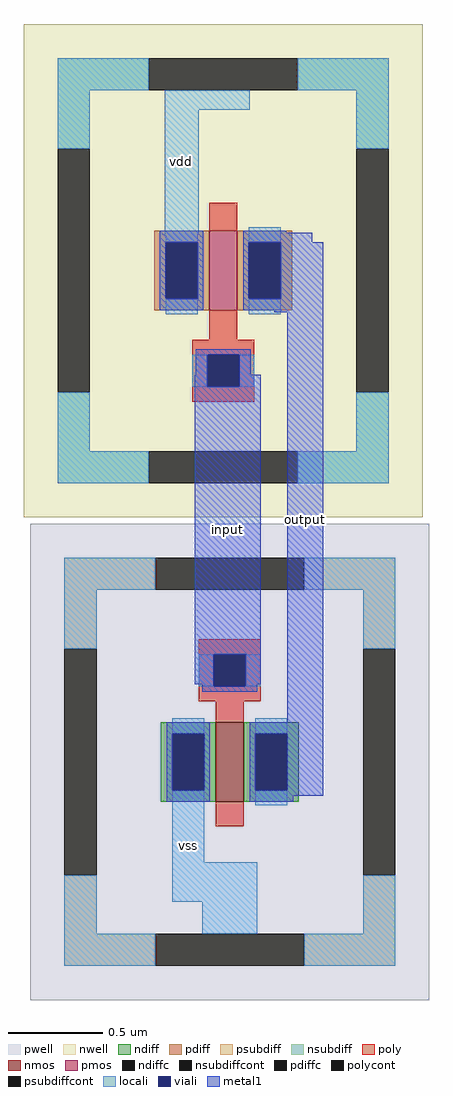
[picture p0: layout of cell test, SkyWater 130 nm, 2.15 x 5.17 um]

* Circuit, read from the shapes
.subckt test input output vdd vss
XM1 output input vss vss sky130_fd_pr__nfet_01v8 w=0.42 l=0.15
XM2 output input vdd vdd sky130_fd_pr__pfet_01v8 w=0.42 l=0.15
.ends

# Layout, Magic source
magic
tech sky130A
magscale 1 2
<< nwell >>
rect 511 1081 933 1603
<< pwell >>
rect 518 570 940 1074
<< nmos >>
rect 714 780 744 864
<< pmos >>
rect 707 1300 737 1384
<< ndiff >>
rect 656 852 714 864
rect 656 792 668 852
rect 702 792 714 852
rect 656 780 714 792
rect 744 852 802 864
rect 744 792 756 852
rect 790 792 802 852
rect 744 780 802 792
<< pdiff >>
rect 649 1372 707 1384
rect 649 1312 661 1372
rect 695 1312 707 1372
rect 649 1300 707 1312
rect 737 1372 795 1384
rect 737 1312 749 1372
rect 783 1312 795 1372
rect 737 1300 795 1312
<< ndiffc >>
rect 668 792 702 852
rect 756 792 790 852
<< pdiffc >>
rect 661 1312 695 1372
rect 749 1312 783 1372
<< psubdiff >>
rect 554 1004 650 1038
rect 808 1004 904 1038
rect 554 942 588 1004
rect 870 942 904 1004
rect 554 640 588 702
rect 870 640 904 702
rect 554 606 650 640
rect 808 606 904 640
<< nsubdiff >>
rect 547 1533 643 1567
rect 801 1533 897 1567
rect 547 1471 581 1533
rect 863 1471 897 1533
rect 547 1151 581 1213
rect 863 1151 897 1213
rect 547 1117 643 1151
rect 801 1117 897 1151
<< psubdiffcont >>
rect 650 1004 808 1038
rect 554 702 588 942
rect 870 702 904 942
rect 650 606 808 640
<< nsubdiffcont >>
rect 643 1533 801 1567
rect 547 1213 581 1471
rect 863 1213 897 1471
rect 643 1117 801 1151
<< poly >>
rect 707 1384 737 1414
rect 707 1269 737 1300
rect 689 1253 755 1269
rect 689 1219 705 1253
rect 739 1219 755 1253
rect 689 1203 755 1219
rect 696 936 762 952
rect 696 902 712 936
rect 746 902 762 936
rect 696 886 762 902
rect 714 864 744 886
rect 714 754 744 780
<< polycont >>
rect 705 1219 739 1253
rect 712 902 746 936
<< locali >>
rect 547 1533 643 1567
rect 801 1533 897 1567
rect 547 1471 581 1533
rect 660 1512 750 1533
rect 660 1382 696 1512
rect 863 1471 897 1533
rect 660 1380 695 1382
rect 661 1372 695 1380
rect 661 1296 695 1312
rect 749 1372 783 1388
rect 749 1296 783 1312
rect 689 1219 705 1253
rect 739 1219 755 1253
rect 547 1151 581 1213
rect 863 1151 897 1213
rect 547 1117 643 1151
rect 801 1117 897 1151
rect 554 1004 650 1038
rect 808 1004 904 1038
rect 554 942 588 1004
rect 870 942 904 1004
rect 696 902 712 936
rect 746 902 762 936
rect 554 640 588 702
rect 668 852 702 868
rect 668 716 702 792
rect 756 852 790 868
rect 756 776 790 792
rect 668 674 758 716
rect 700 640 758 674
rect 870 640 904 702
rect 554 606 650 640
rect 808 606 904 640
<< viali >>
rect 661 1312 695 1372
rect 749 1312 783 1372
rect 705 1219 739 1253
rect 712 902 746 936
rect 668 792 702 852
rect 756 792 790 852
<< metal1 >>
rect 655 1372 701 1384
rect 655 1312 661 1372
rect 695 1312 701 1372
rect 655 1300 701 1312
rect 743 1382 789 1384
rect 743 1372 816 1382
rect 743 1312 749 1372
rect 783 1312 828 1372
rect 743 1300 828 1312
rect 776 1298 828 1300
rect 693 1253 751 1259
rect 693 1232 705 1253
rect 692 1219 705 1232
rect 739 1232 751 1253
rect 739 1219 762 1232
rect 692 936 762 1219
rect 692 904 712 936
rect 700 902 712 904
rect 746 904 762 936
rect 746 902 758 904
rect 700 896 758 902
rect 790 864 828 1298
rect 662 852 708 864
rect 662 792 668 852
rect 702 792 708 852
rect 662 780 708 792
rect 750 852 828 864
rect 750 792 756 852
rect 790 792 828 852
rect 750 786 828 792
rect 750 780 796 786
<< labels >>
flabel metal1 692 904 762 1232 0 FreeSans 320 0 0 0 input
port 10 nsew
flabel metal1 790 786 828 1372 0 FreeSans 320 0 0 0 output
port 12 nsew
flabel locali 660 1382 696 1533 0 FreeSans 320 0 0 0 vdd
port 13 nsew
flabel locali 668 674 702 792 0 FreeSans 320 0 0 0 vss
port 15 nsew
<< end >>
